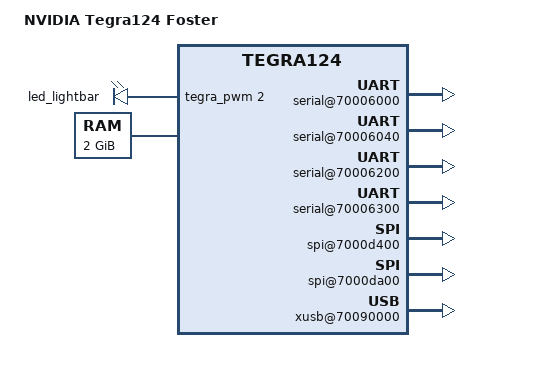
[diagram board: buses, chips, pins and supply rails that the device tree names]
/*
 * Copyright (c) 2014, NVIDIA CORPORATION.  All rights reserved.
 *
 * This program is free software; you can redistribute it and/or modify it
 * under the terms and conditions of the GNU General Public License,
 * version 2, as published by the Free Software Foundation.
 *
 * This program is distributed in the hope it will be useful, but WITHOUT
 * ANY WARRANTY; without even the implied warranty of MERCHANTABILITY or
 * FITNESS FOR A PARTICULAR PURPOSE.  See the GNU General Public License for
 * more details.
 */

/dts-v1/;

#include "tegra124-soc-shield.dtsi"
#include <dt-bindings/gpio/tegra-gpio.h>
#include <tegra124-platforms/tegra124-loki-gpio-default.dtsi>
#include <tegra124-platforms/tegra124-loki-pinmux.dtsi>
#include "tegra124-platforms/tegra124-loki-power-tree-e2530-0000-a01.dtsi"
#include "tegra124-platforms/tegra124-loki-gpio-pinmux-e2530.dtsi"
#include "tegra124-platforms/tegra124-loki-thermal-zone-p2530-0000-a01.dtsi"
#include "tegra124-platforms/tegra124-loki-foster-pwm-fan.dtsi"
#include "tegra124-platforms/tegra124-foster-thermal-fan-est.dtsi"

/ {
	model = "NVIDIA Tegra124 Foster";
	compatible = "nvidia,foster", "nvidia,tegra124";
	nvidia,dtsfilename = __FILE__;
	#address-cells = <2>;
	#size-cells = <2>;

	chosen {
		bootargs = "tegraid=40.0.0.00.00 vmalloc=256M video=tegrafb console=ttyS0,115200n8 earlyprintk";
		linux,initrd-start = <0x85000000>;
		linux,initrd-end = <0x851bc400>;
	};

	firmware {
		android {
			compatible = "android,firmware";
			hardware = "foster";
		};
	};

	pwm-leds {
		compatible = "pwm-leds";
		lightbar {
			label = "led_lightbar";
			pwms = <&tegra_pwm 2 10000000>;
			max_brightness = <255>;
			linux,default-trigger = "default-on";
		};
	};

	serial@70006000 {
		compatible = "nvidia,tegra20-uart";
		console-port;
		dt-override-status-odm-data = <0x00038000 0x00028000>;
	};

	serial@70006040 {
		compatible = "nvidia,tegra114-hsuart";
		status = "okay";
	};

	serial@70006200 {
		compatible = "nvidia,tegra114-hsuart";
		status = "okay";
	};

	serial@70006300 {
		compatible = "nvidia,tegra20-uart", "nvidia,tegra114-hsuart";
		console-port;
		sqa-automation-port;
		dt-override-status-odm-data = <0x00038000 0x00018000>;
	};

	memory@0x80000000 {
		device_type = "memory";
		reg = <0x0 0x80000000 0x0 0x80000000>;
	};

	i2c@7000d000 {
		nvidia,bit-banging-xfer-after-shutdown;

		tps65913 {
			gpadc {
				ti,auto-conversion-period-ms = <1000>;
				auto_conv0 {
					ti,adc-channel-number = <1>;
					ti,adc-low-threshold = <765>;
					ti,enable-shutdown;
				};
			};

			extcon {
				extcon-name = "palmas-extcon";
			};
		};
	};

	spi@7000d400 {
		status = "okay";
		spi-max-frequency = <25000000>;
	};

	spi@7000da00 {
		status = "okay";
		spi-max-frequency = <25000000>;
	};

	pmc@7000e400 {
		status = "okay";
		nvidia,invert-interrupt;
		nvidia,suspend-mode = <3>;
		nvidia,cpu-pwr-good-time = <500>;
		nvidia,cpu-pwr-off-time = <300>;
		nvidia,core-pwr-good-time = <3845 3845>;
		nvidia,core-pwr-off-time = <2000>;
		nvidia,core-power-req-active-high;
		nvidia,sys-clock-req-active-high;
	};

	xusb@70090000 {
		/* nvidia,uses_external_pmic;
		nvidia,gpio_controls_muxed_ss_lanes; */
		nvidia,gpio_ss1_sata = <0>;
		nvidia,portmap = <0x603>; /* SSP0, SSP1 USB2P1, USB2P2 */
		nvidia,ss_portmap = <0x21>; /* SSP0 on USB2P1, SSP1 on USB2P2 */
		nvidia,lane_owner = <6>; /* USB3P0 USB3P1 */
		nvidia,ulpicap = <0>; /* No ulpi support. can we remove */
		status = "okay";
	};

	generic-adc-thermal@4 {
		status = "disabled";
	};

	thermal-zones {
		Battery {
			status = "disabled";
		};
	};
	bthrot_cdev {
			skin_balanced {
				status = "disabled";
			};
			gpu_balanced {
				status = "disabled";
			};
			cpu_balanced {
				cdev-type = "tegra-balanced";
			};
			emergency_balanced{
				status = "disabled";
			};
	};

	gpu_edp {
		nvidia,edp_limit = <14000>;
	};
	cpu_edp {
		nvidia,edp_limit = <14000>;
	};
};
